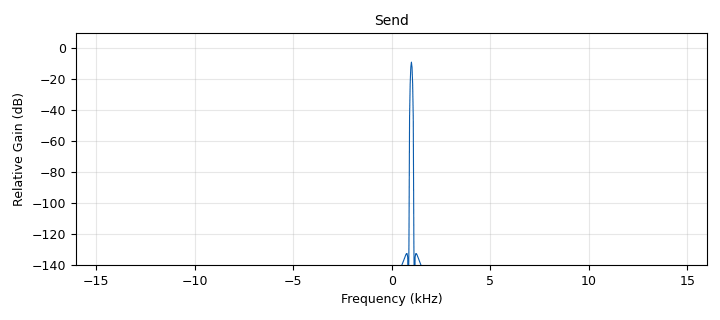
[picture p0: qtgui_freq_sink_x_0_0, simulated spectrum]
options:
  parameters:
    generate_options: qt_gui
    id: tcp
    output_language: python
    title: Not titled yet
  states: {}

blocks:
- name: address
  id: variable
  parameters:
    value: '"192.168.2.2"'
  states: {}
- name: samp_rate
  id: variable
  parameters:
    value: '32000'
  states: {}
- name: analog_sig_source_x_0
  id: analog_sig_source_x
  parameters:
    amp: '1'
    freq: '1000'
    offset: '0'
    phase: '0'
    samp_rate: samp_rate
    type: complex
    waveform: analog.GR_COS_WAVE
  states: {}
- name: blocks_throttle_0
  id: blocks_throttle
  parameters:
    samples_per_second: samp_rate
    type: complex
  states: {}
- name: network_tcp_sink_0
  id: network_tcp_sink
  parameters:
    addr: ''
    mode: '1'
    port: '2000'
    type: complex
  states: {}
- name: network_tcp_source_0
  id: network_tcp_source
  parameters:
    addr: ''
    port: '2000'
    server: 'True'
    type: complex
  states: {}
- name: qtgui_freq_sink_x_0
  id: qtgui_freq_sink_x
  parameters:
    bw: samp_rate
    fc: '0'
    fftsize: '1024'
    name: '"Receive"'
    type: complex
  states: {}
- name: qtgui_freq_sink_x_0_0
  id: qtgui_freq_sink_x
  parameters:
    bw: samp_rate
    fc: '0'
    fftsize: '1024'
    name: '"Send"'
    type: complex
  states: {}

connections:
- [analog_sig_source_x_0, '0', blocks_throttle_0, '0']
- [blocks_throttle_0, '0', network_tcp_sink_0, '0']
- [blocks_throttle_0, '0', qtgui_freq_sink_x_0_0, '0']
- [network_tcp_source_0, '0', qtgui_freq_sink_x_0, '0']

metadata:
  file_format: 1
